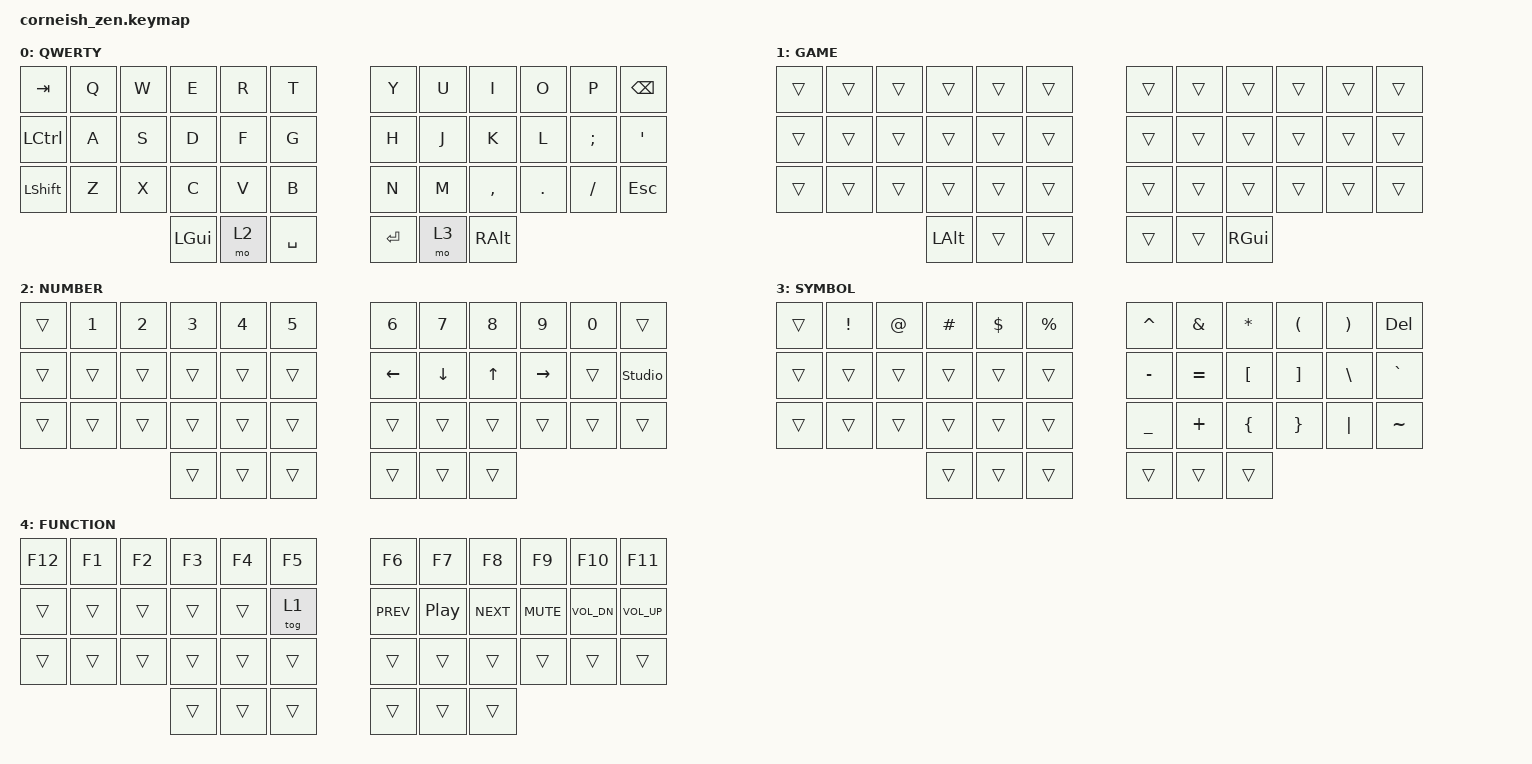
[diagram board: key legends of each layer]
#include <behaviors.dtsi>
#include <dt-bindings/zmk/keys.h>
#include <dt-bindings/zmk/bt.h>

/ {
    chosen {
        zmk,physical-layout = &foostan_corne_6col_layout;
    };
};

/ {
    conditional_layers {
        compatible = "zmk,conditional-layers";
        tri_layer {
            if-layers = <2 3>;
            then-layer = <4>;
        };
    };
    keymap {
        compatible = "zmk,keymap";

        default_layer {
            display-name = "QWERTY";
// -----------------------------------------------------------------------------
// | TAB |  Q  |  W  |  E  |  R  |  T  |   |  Y  |  U  |  I  |  O  |  P  | BSP |
// | CTL |  A  |  S  |  D  |  F  |  G  |   |  H  |  J  |  K  |  L  |  ;  |  '  |
// | SHF |  Z  |  X  |  C  |  V  |  B  |   |  N  |  M  |  ,  |  .  |  /  | ESC |
//                   | GUI | LWR | SPC |   | ENT | RSE | ALT |
            bindings = <
&kp TAB   &kp Q &kp W &kp E     &kp R &kp T         &kp Y   &kp U &kp I     &kp O   &kp P    &kp BSPC
&kp LCTRL &kp A &kp S &kp D     &kp F &kp G         &kp H   &kp J &kp K     &kp L   &kp SEMI &kp SQT
&kp LSHFT &kp Z &kp X &kp C     &kp V &kp B         &kp N   &kp M &kp COMMA &kp DOT &kp FSLH &kp ESC
                      &kp LGUI  &mo 2 &kp SPACE     &kp RET &mo 3 &kp RALT
            >;
        };

        game_layer {
            display-name = "GAME";
// -----------------------------------------------------------------------------
// |     |     |     |     |     |     |   |     |     |     |     |     |     |
// |     |     |     |     |     |     |   |     |     |     |     |     |     |
// |     |     |     |     |     |     |   |     |     |     |     |     |     |
//                   | ALT |     |     |   |     |     | GUI |
            bindings = <
&trans &trans &trans &trans   &trans &trans     &trans &trans &trans &trans &trans &trans
&trans &trans &trans &trans   &trans &trans     &trans &trans &trans &trans &trans &trans
&trans &trans &trans &trans   &trans &trans     &trans &trans &trans &trans &trans &trans
                     &kp LALT &trans &trans     &trans &trans &kp RGUI
            >;
        };

        lower_layer {
            display-name = "NUMBER";
// -----------------------------------------------------------------------------
// |     |  1  |  2  |  3  |  4  |  5  |   |  6  |  7  |  8  |  9  |  0  |     |
// |     |     |     |     |     |     |   | LFT | DWN |  UP | RGT |     | STD |
// |     |     |     |     |     |     |   |     |     |     |     |     |     |
//                   |     |     |     |   |     |     |     |
            bindings = <
&trans &kp N1 &kp N2 &kp N3 &kp N4 &kp N5   &kp N6   &kp N7   &kp N8 &kp N9    &kp N0 &trans
&trans &trans &trans &trans &trans &trans   &kp LEFT &kp DOWN &kp UP &kp RIGHT &trans &studio_unlock
&trans &trans &trans &trans &trans &trans   &trans   &trans   &trans &trans    &trans &trans
                     &trans &trans &trans   &trans   &trans   &trans
            >;
        };

        raise_layer {
            display-name = "SYMBOL";
// -----------------------------------------------------------------------------
// |     |  !  |  @  |  #  |  $  |  %  |   |  ^  |  &  |  *  |  (  |  )  | DEL |
// |     |     |     |     |     |     |   |  -  |  =  |  {  |  }  |  \  |  `  |
// |     |     |     |     |     |     |   |  _  |  +  |  [  |  ]  |  |  |  ~  |
//                   |     |     |     |   |     |     |     |
            bindings = <
&trans &kp EXCL &kp AT &kp HASH &kp DLLR &kp PRCNT  &kp CARET &kp AMPS  &kp STAR &kp LPAR &kp RPAR &kp DEL
&trans &trans   &trans &trans   &trans   &trans     &kp MINUS &kp EQUAL &kp LBKT &kp RBKT &kp BSLH &kp GRAVE
&trans &trans   &trans &trans   &trans   &trans     &kp UNDER &kp PLUS  &kp LBRC &kp RBRC &kp PIPE &kp TILDE
                       &trans   &trans   &trans     &trans    &trans    &trans
            >;
        };

        adjust_layer {
            display-name = "FUNCTION";
// -----------------------------------------------------------------------------
// | F12 |  F1 |  F2 |  F3 |  F4 |  F5 |   |  F6 |  F7 |  F8 |  F9 | F10 | F11 |
// |     |     |     |     |     | GME |   | PRV |  PP | NXT | MUT | VDN | VUP |
// |     |     |     |     |     |     |   |     |     |     |     |     |     |   
//                   |     |     |     |   |     |     |     |
            bindings = <
&kp F12 &kp F1 &kp F2 &kp F3 &kp F4 &kp F5   &kp F6     &kp F7   &kp F8     &kp F9     &kp F10      &kp F11
&trans  &trans &trans &trans &trans &tog 1   &kp C_PREV &kp C_PP &kp C_NEXT &kp C_MUTE &kp C_VOL_DN &kp C_VOL_UP
&trans  &trans &trans &trans &trans &trans   &trans     &trans   &trans     &trans     &trans       &trans
                      &trans &trans &trans   &trans     &trans   &trans
            >;
        };
    };
};
